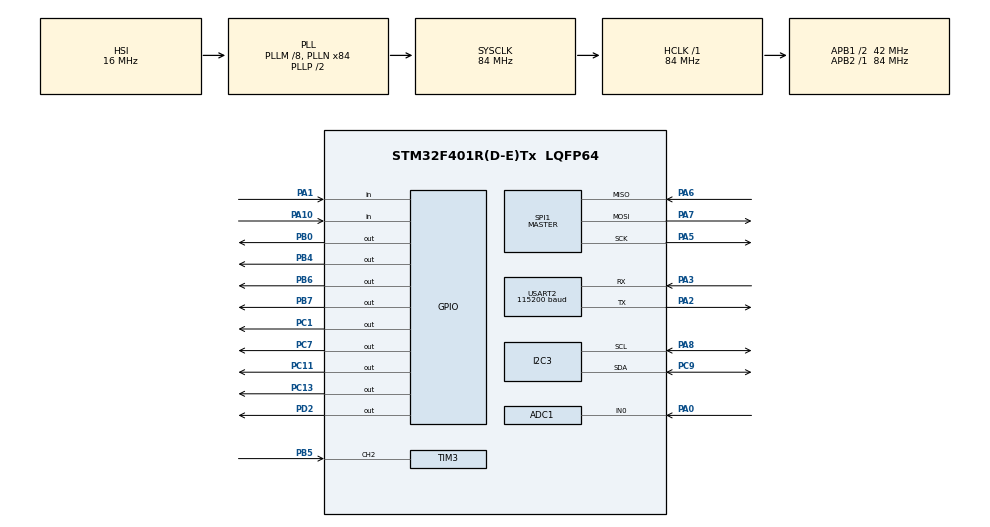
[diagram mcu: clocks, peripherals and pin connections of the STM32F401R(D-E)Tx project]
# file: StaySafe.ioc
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ADC1.Channel-1\#ChannelRegularConversion=ADC_CHANNEL_0
ADC1.NbrOfConversionFlag=1
ADC1.Rank-1\#ChannelRegularConversion=1
ADC1.SamplingTime-1\#ChannelRegularConversion=ADC_SAMPLETIME_3CYCLES
ADC1.master=1
FREERTOS.Queues01=QueueData,8,uint16_t,0,Dynamic,NULL,NULL;QueueLCD,8,uint16_t,0,Dynamic,NULL,NULL;QueueAlert,8,uint8_t,0,Dynamic,NULL,NULL
FREERTOS.Tasks01=alertTask,40,128,alertTaskFunction,Default,NULL,Dynamic,NULL,NULL;LoraTask,32,256,LoraTaskFunction,Default,NULL,Dynamic,NULL,NULL;readingSensor,24,256,readingSensorFunction,Default,NULL,Dynamic,NULL,NULL;LcdTask,16,128,LcdTaskFunction,Default,NULL,Dynamic,NULL,NULL
Mcu.Family=STM32F4
Mcu.Name=STM32F401R(D-E)Tx
Mcu.Package=LQFP64
NVIC.PriorityGroup=NVIC_PRIORITYGROUP_4
NVIC.RTC_WKUP_IRQn=true\:5\:0\:false\:false\:true\:true\:true\:true\:true
NVIC.TIM1_UP_TIM10_IRQn=true\:15\:0\:false\:false\:true\:false\:false\:true\:true
NVIC.TIM3_IRQn=true\:5\:0\:false\:false\:true\:true\:true\:true\:true
NVIC.TimeBase=TIM1_UP_TIM10_IRQn
NVIC.TimeBaseIP=TIM1
PA0-WKUP.Signal=ADCx_IN0
PA1.Signal=GPIO_Input
PA10.Signal=GPIO_Input
PA13.Mode=Trace_Asynchronous_SW
PA13.Signal=SYS_JTMS-SWDIO
PA14.Mode=Trace_Asynchronous_SW
PA14.Signal=SYS_JTCK-SWCLK
PA2.Mode=Asynchronous
PA2.Signal=USART2_TX
PA3.Mode=Asynchronous
PA3.Signal=USART2_RX
PA5.Mode=Full_Duplex_Master
PA5.Signal=SPI1_SCK
PA6.Mode=Full_Duplex_Master
PA6.Signal=SPI1_MISO
PA7.Mode=Full_Duplex_Master
PA7.Signal=SPI1_MOSI
PA8.Mode=I2C
PA8.Signal=I2C3_SCL
PB0.Signal=GPIO_Output
PB3.Mode=Trace_Asynchronous_SW
PB3.Signal=SYS_JTDO-SWO
PB4.Signal=GPIO_Output
PB5.Signal=S_TIM3_CH2
PB6.Signal=GPIO_Output
PB7.Signal=GPIO_Output
PC1.Signal=GPIO_Output
PC11.Signal=GPIO_Output
PC13-ANTI_TAMP.Signal=GPIO_Output
PC7.Signal=GPIO_Output
PC9.Mode=I2C
PC9.Signal=I2C3_SDA
PD2.Signal=GPIO_Output
ProjectManager.HeapSize=0x200
ProjectManager.StackSize=0x400
ProjectManager.TargetToolchain=STM32CubeIDE
RCC.48MHZClocksFreq_Value=42000000
RCC.AHBFreq_Value=84000000
RCC.APB1CLKDivider=RCC_HCLK_DIV2
RCC.APB1Freq_Value=42000000
RCC.APB1TimFreq_Value=84000000
RCC.APB2Freq_Value=84000000
RCC.APB2TimFreq_Value=84000000
RCC.CortexFreq_Value=84000000
RCC.HCLKFreq_Value=84000000
RCC.HSE_VALUE=25000000
RCC.HSI_VALUE=16000000
RCC.LSE_VALUE=32768
RCC.PLLM=8
RCC.PLLN=84
RCC.SYSCLKFreq_VALUE=84000000
RCC.SYSCLKSource=RCC_SYSCLKSOURCE_PLLCLK
RCC.VCOOutputFreq_Value=168000000
RTC.WakeUpCounter=2000
SH.ADCx_IN0.0=ADC1_IN0,IN0
SH.S_TIM3_CH2.0=TIM3_CH2,Input_Capture2_from_TI2
SPI1.Direction=SPI_DIRECTION_2LINES
SPI1.Mode=SPI_MODE_MASTER
SPI1.VirtualType=VM_MASTER
TIM3.Channel-Input_Capture2_from_TI2=TIM_CHANNEL_2
TIM3.Prescaler=83
USART2.BaudRate=115200
USART2.VirtualMode=VM_ASYNC
VP_FREERTOS_VS_CMSIS_V2.Mode=CMSIS_V2
VP_RTC_VS_RTC_Activate.Mode=RTC_Enabled
VP_RTC_VS_RTC_WakeUp_intern.Mode=WakeUp
VP_SYS_VS_tim1.Mode=TIM1
board=custom

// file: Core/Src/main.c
/* USER CODE BEGIN Header */
/**
  ******************************************************************************
  * @file           : main.c
  * @brief          : Main program body
  ******************************************************************************
  * @attention
  *
  * Copyright (c) 2026 STMicroelectronics.
  * All rights reserved.
  *
  * This software is licensed under terms that can be found in the LICENSE file
  * in the root directory of this software component.
  * If no LICENSE file comes with this software, it is provided AS-IS.
  *
  ******************************************************************************
  */
/* USER CODE END Header */
#include "main.h"
#include "cmsis_os.h"

/* USER CODE BEGIN Includes */
#include <stdio.h>
#include "SX1278.h"
#include "FreeRTOS.h"
#include "queue.h"
#include "ultrasonic.h"
#include "i2c_lcd.h"
#include "event_groups.h"
/* USER CODE END Includes */

/* USER CODE BEGIN PD */
#define ALERT_DONE_BIT      (1 << 0)
#define LCD_DONE_BIT        (1 << 1)
#define LORA_DONE_BIT       (1 << 2)
#define ALL_DONE_BITS       (ALERT_DONE_BIT | LCD_DONE_BIT | LORA_DONE_BIT)

#define WORK_DURATION_MS        (30UL * 1000UL)
#define SLEEP_DURATION_MS       (10UL * 1000UL)   // 10 minutes STOP
#define SENSOR_CYCLE_MS         150UL                     // période lecture capteurs
#define TASK_SYNC_TIMEOUT_MS    3000UL
/* USER CODE END PD */

/* USER CODE BEGIN PM */
I2C_LCD_HandleTypeDef lcd1;
/* USER CODE END PM */

ADC_HandleTypeDef hadc1;

I2C_HandleTypeDef hi2c3;

RTC_HandleTypeDef hrtc;

SPI_HandleTypeDef hspi1;

TIM_HandleTypeDef htim3;

UART_HandleTypeDef huart2;

/* Definitions for alertTask */
osThreadId_t alertTaskHandle;
const osThreadAttr_t alertTask_attributes = {
  .name = "alertTask",
  .stack_size = 128 * 4,
  .priority = (osPriority_t) osPriorityHigh,
};
/* Definitions for LoraTask */
osThreadId_t LoraTaskHandle;
const osThreadAttr_t LoraTask_attributes = {
  .name = "LoraTask",
  .stack_size = 256 * 4,
  .priority = (osPriority_t) osPriorityAboveNormal,
};
/* Definitions for readingSensor */
osThreadId_t readingSensorHandle;
const osThreadAttr_t readingSensor_attributes = {
  .name = "readingSensor",
  .stack_size = 256 * 4,
  .priority = (osPriority_t) osPriorityNormal,
};
/* Definitions for LcdTask */
osThreadId_t LcdTaskHandle;
const osThreadAttr_t LcdTask_attributes = {
  .name = "LcdTask",
  .stack_size = 128 * 4,
  .priority = (osPriority_t) osPriorityBelowNormal,
};
/* Definitions for QueueData */
osMessageQueueId_t QueueDataHandle;
const osMessageQueueAttr_t QueueData_attributes = {
  .name = "QueueData"
};
/* Definitions for QueueLCD */
osMessageQueueId_t QueueLCDHandle;
const osMessageQueueAttr_t QueueLCD_attributes = {
  .name = "QueueLCD"
};
/* Definitions for QueueAlert */
osMessageQueueId_t QueueAlertHandle;
const osMessageQueueAttr_t QueueAlert_attributes = {
  .name = "QueueAlert"
};
/* USER CODE BEGIN PV */

volatile uint32_t rtc_wakeup_flag = 1;
volatile uint8_t sleep_permitted =0;
volatile uint8_t just_woke = 0;
/* USER CODE END PV */

void SystemClock_Config(void);
static void MX_GPIO_Init(void);
static void MX_SPI1_Init(void);
static void MX_I2C3_Init(void);
static void MX_ADC1_Init(void);
static void MX_USART2_UART_Init(void);
static void MX_TIM3_Init(void);
static void MX_RTC_Init(void);
void alertTaskFunction(void *argument);
void LoraTaskFunction(void *argument);
void readingSensorFunction(void *argument);
void LcdTaskFunction(void *argument);

/* USER CODE BEGIN 0 */
SX1278_hw_t SX1278_hw;
SX1278_t SX1278;
int master ;
int ret ;
EventGroupHandle_t xTasksDoneGroup;

typedef struct {
	float distancecm;
	uint16_t rainIn;
		uint8_t rainexistence;
		uint8_t rainCategory;
		uint8_t alertLevel;
	}SensorData;
uint8_t alert=1;
volatile uint32_t IC_Value1 = 0;
volatile uint32_t IC_Value2 = 0;
volatile uint8_t  edgeState = 0;
volatile uint32_t pulseWidth_us = 0;

	void delay_us(uint32_t us)
{
    uint32_t i;
    for(i = 0; i < (us * 8); i++)
    {
        __NOP();
    }
}
/* USER CODE END 0 */

int main(void)
{

  /* USER CODE BEGIN 1 */
	  __HAL_RCC_GPIOB_CLK_ENABLE();
	    GPIOB->MODER |= (1 << (4*2));   // PB4 output
	    GPIOB->ODR   &= ~(1 << 4);
  /* USER CODE END 1 */

  /* MCU Configuration--------------------------------------------------------*/

  /* Reset of all peripherals, Initializes the Flash interface and the Systick. */
  HAL_Init();

  /* Configure the system clock */
  SystemClock_Config();

  /* Initialize all configured peripherals */
  MX_GPIO_Init();
  HAL_Delay(100);
  MX_SPI1_Init();
  MX_I2C3_Init();
  MX_ADC1_Init();
  MX_USART2_UART_Init();
  MX_TIM3_Init();
  MX_RTC_Init();
  /* USER CODE BEGIN 2 */
  lcd1.hi2c = &hi2c3;     // hi2c1 is your I2C handler
      lcd1.address = 0x4E;    // I2C address for the first LCD
      lcd_init(&lcd1);
  	HAL_Delay(200);

  SX1278_hw.nss.port= GPIOB;
  SX1278_hw.nss.pin= GPIO_PIN_6;
  SX1278_hw.reset.port= GPIOC;
  SX1278_hw.reset.pin= GPIO_PIN_7;
  SX1278_hw.dio0.port= GPIOA;
  SX1278_hw.dio0.pin= GPIO_PIN_10;
  SX1278_hw.spi= &hspi1;
  SX1278.hw = &SX1278_hw;
  SX1278_hw_Reset(&SX1278_hw);
  HAL_Delay(500);
  SX1278_init(&SX1278, 433000000, SX1278_POWER_11DBM,
              SX1278_LORA_SF_7, SX1278_LORA_BW_125KHZ,
              SX1278_LORA_CR_4_5, SX1278_LORA_CRC_EN, 16);

  HAL_Delay(1000);

  uint8_t version = SX1278_SPIRead(&SX1278, 0x42);
    if (version != 0x12)
  {   HAL_UART_Transmit(&huart2, (uint8_t*)"LORA FAIL-RETRY\n", 16, 100);
      SX1278_hw_Reset(&SX1278_hw);
           HAL_Delay(500);
      SX1278_init(&SX1278, 433000000, SX1278_POWER_11DBM, SX1278_LORA_SF_7, SX1278_LORA_BW_125KHZ, SX1278_LORA_CR_4_5, SX1278_LORA_CRC_EN, 16);
      HAL_Delay(500);
        version = SX1278_SPIRead(&SX1278, 0x42);
      if (version != 0x12)//0x12
      {

    HAL_UART_Transmit(&huart2, (uint8_t*)"LORA DEAD-RESET\n", 16, 100);
          HAL_Delay(100);
      NVIC_SystemReset();
      }
  }
	HAL_GPIO_WritePin(GPIOB, GPIO_PIN_0, GPIO_PIN_SET);
 		 HAL_Delay(1000);
 	 HAL_GPIO_WritePin(GPIOB, GPIO_PIN_0, GPIO_PIN_RESET);
  HAL_Delay(1000);
  /* USER CODE END 2 */

  /* Init scheduler */
  osKernelInitialize();

  /* USER CODE BEGIN RTOS_TIMERS */
	xTasksDoneGroup = xEventGroupCreate();

  /* start timers, add new ones, ... */
  /* USER CODE END RTOS_TIMERS */

  /* Create the queue(s) */
  /* creation of QueueData */
  QueueDataHandle = osMessageQueueNew (8, sizeof(SensorData), &QueueData_attributes);

  /* creation of QueueLCD */
  QueueLCDHandle = osMessageQueueNew (8, sizeof(SensorData), &QueueLCD_attributes);

  /* creation of QueueAlert */
  QueueAlertHandle = osMessageQueueNew (8, sizeof(uint8_t), &QueueAlert_attributes);

  /* Create the thread(s) */
  /* creation of alertTask */
  alertTaskHandle = osThreadNew(alertTaskFunction, NULL, &alertTask_attributes);

  /* creation of LoraTask */
  LoraTaskHandle = osThreadNew(LoraTaskFunction, NULL, &LoraTask_attributes);

  /* creation of readingSensor */
  readingSensorHandle = osThreadNew(readingSensorFunction, NULL, &readingSensor_attributes);

  /* creation of LcdTask */
  LcdTaskHandle = osThreadNew(LcdTaskFunction, NULL, &LcdTask_attributes);

  /* Start scheduler */
  osKernelStart();

  /* We should never get here as control is now taken by the scheduler */

  /* Infinite loop */
  while (1)
  {

  }
}

void SystemClock_Config(void)
{
  RCC_OscInitTypeDef RCC_OscInitStruct = {0};
  RCC_ClkInitTypeDef RCC_ClkInitStruct = {0};

  /** Configure the main internal regulator output voltage
  */
  __HAL_RCC_PWR_CLK_ENABLE();
  __HAL_PWR_VOLTAGESCALING_CONFIG(PWR_REGULATOR_VOLTAGE_SCALE2);

  /** Initializes the RCC Oscillators according to the specified parameters
  * in the RCC_OscInitTypeDef structure.
  */
  RCC_OscInitStruct.OscillatorType = RCC_OSCILLATORTYPE_HSI|RCC_OSCILLATORTYPE_LSI;
  RCC_OscInitStruct.HSIState = RCC_HSI_ON;
  RCC_OscInitStruct.HSICalibrationValue = RCC_HSICALIBRATION_DEFAULT;
  RCC_OscInitStruct.LSIState = RCC_LSI_ON;
  RCC_OscInitStruct.PLL.PLLState = RCC_PLL_ON;
  RCC_OscInitStruct.PLL.PLLSource = RCC_PLLSOURCE_HSI;
  RCC_OscInitStruct.PLL.PLLM = 8;
  RCC_OscInitStruct.PLL.PLLN = 84;
  RCC_OscInitStruct.PLL.PLLP = RCC_PLLP_DIV2;
  RCC_OscInitStruct.PLL.PLLQ = 4;
  if (HAL_RCC_OscConfig(&RCC_OscInitStruct) != HAL_OK)
  {
    Error_Handler();
  }

  /** Initializes the CPU, AHB and APB buses clocks
  */
  RCC_ClkInitStruct.ClockType = RCC_CLOCKTYPE_HCLK|RCC_CLOCKTYPE_SYSCLK
                              |RCC_CLOCKTYPE_PCLK1|RCC_CLOCKTYPE_PCLK2;
  RCC_ClkInitStruct.SYSCLKSource = RCC_SYSCLKSOURCE_PLLCLK;
  RCC_ClkInitStruct.AHBCLKDivider = RCC_SYSCLK_DIV1;
  RCC_ClkInitStruct.APB1CLKDivider = RCC_HCLK_DIV2;
  RCC_ClkInitStruct.APB2CLKDivider = RCC_HCLK_DIV1;

  if (HAL_RCC_ClockConfig(&RCC_ClkInitStruct, FLASH_LATENCY_2) != HAL_OK)
  {
    Error_Handler();
  }
}

static void MX_ADC1_Init(void)
{

  ADC_ChannelConfTypeDef sConfig = {0};

  /** Configure the global features of the ADC (Clock, Resolution, Data Alignment and number of conversion)
  */
  hadc1.Instance = ADC1;
  hadc1.Init.ClockPrescaler = ADC_CLOCK_SYNC_PCLK_DIV4;
  hadc1.Init.Resolution = ADC_RESOLUTION_12B;
  hadc1.Init.ScanConvMode = DISABLE;
  hadc1.Init.ContinuousConvMode = DISABLE;
  hadc1.Init.DiscontinuousConvMode = DISABLE;
  hadc1.Init.ExternalTrigConvEdge = ADC_EXTERNALTRIGCONVEDGE_NONE;
  hadc1.Init.ExternalTrigConv = ADC_SOFTWARE_START;
  hadc1.Init.DataAlign = ADC_DATAALIGN_RIGHT;
  hadc1.Init.NbrOfConversion = 1;
  hadc1.Init.DMAContinuousRequests = DISABLE;
  hadc1.Init.EOCSelection = ADC_EOC_SINGLE_CONV;
  if (HAL_ADC_Init(&hadc1) != HAL_OK)
  {
    Error_Handler();
  }

  /** Configure for the selected ADC regular channel its corresponding rank in the sequencer and its sample time.
  */
  sConfig.Channel = ADC_CHANNEL_0;
  sConfig.Rank = 1;
  sConfig.SamplingTime = ADC_SAMPLETIME_3CYCLES;
  if (HAL_ADC_ConfigChannel(&hadc1, &sConfig) != HAL_OK)
  {
    Error_Handler();
  }

}

static void MX_I2C3_Init(void)
{

  hi2c3.Instance = I2C3;
  hi2c3.Init.ClockSpeed = 100000;
  hi2c3.Init.DutyCycle = I2C_DUTYCYCLE_2;
  hi2c3.Init.OwnAddress1 = 0;
  hi2c3.Init.AddressingMode = I2C_ADDRESSINGMODE_7BIT;
  hi2c3.Init.DualAddressMode = I2C_DUALADDRESS_DISABLE;
  hi2c3.Init.OwnAddress2 = 0;
  hi2c3.Init.GeneralCallMode = I2C_GENERALCALL_DISABLE;
  hi2c3.Init.NoStretchMode = I2C_NOSTRETCH_DISABLE;
  if (HAL_I2C_Init(&hi2c3) != HAL_OK)
  {
    Error_Handler();
  }

}

static void MX_RTC_Init(void)
{

  /* USER CODE BEGIN RTC_Init 0 */
	__HAL_RCC_BACKUPRESET_FORCE();
	    HAL_Delay(10);
	    __HAL_RCC_BACKUPRESET_RELEASE();
	    HAL_Delay(10);
  /* USER CODE END RTC_Init 0 */

  RTC_TimeTypeDef sTime = {0};
  RTC_DateTypeDef sDate = {0};

  /* USER CODE BEGIN RTC_Init 1 */
  RCC_PeriphCLKInitTypeDef PeriphClkInitStruct = {0};
     PeriphClkInitStruct.PeriphClockSelection = RCC_PERIPHCLK_RTC;
     PeriphClkInitStruct.RTCClockSelection = RCC_RTCCLKSOURCE_LSI;
     if (HAL_RCCEx_PeriphCLKConfig(&PeriphClkInitStruct) != HAL_OK)
     {
         Error_Handler();
     }
     __HAL_RCC_RTC_ENABLE();
  /* USER CODE END RTC_Init 1 */

  /** Initialize RTC Only
  */
  hrtc.Instance = RTC;
  hrtc.Init.HourFormat = RTC_HOURFORMAT_24;
  hrtc.Init.AsynchPrediv = 127;
  hrtc.Init.SynchPrediv = 255;
  hrtc.Init.OutPut = RTC_OUTPUT_DISABLE;
  hrtc.Init.OutPutPolarity = RTC_OUTPUT_POLARITY_HIGH;
  hrtc.Init.OutPutType = RTC_OUTPUT_TYPE_OPENDRAIN;
  if (HAL_RTC_Init(&hrtc) != HAL_OK)
  {
    Error_Handler();
  }

  /* USER CODE BEGIN Check_RTC_BKUP */
  if (HAL_RTCEx_BKUPRead(&hrtc, RTC_BKP_DR0) != 0x32F2) {
      // Only set time/date on first boot
      if (HAL_RTC_SetTime(&hrtc, &sTime, RTC_FORMAT_BCD) != HAL_OK) { Error_Handler(); }
      if (HAL_RTC_SetDate(&hrtc, &sDate, RTC_FORMAT_BCD) != HAL_OK) { Error_Handler(); }
      HAL_RTCEx_BKUPWrite(&hrtc, RTC_BKP_DR0, 0x32F2);}
  /* USER CODE END Check_RTC_BKUP */

  /** Initialize RTC and set the Time and Date
  */
  sTime.Hours = 0x0;
  sTime.Minutes = 0x0;
  sTime.Seconds = 0x0;
  sTime.DayLightSaving = RTC_DAYLIGHTSAVING_NONE;
  sTime.StoreOperation = RTC_STOREOPERATION_RESET;
  if (HAL_RTC_SetTime(&hrtc, &sTime, RTC_FORMAT_BCD) != HAL_OK)
  {
    Error_Handler();
  }
  sDate.WeekDay = RTC_WEEKDAY_MONDAY;
  sDate.Month = RTC_MONTH_JANUARY;
  sDate.Date = 0x1;
  sDate.Year = 0x0;

  if (HAL_RTC_SetDate(&hrtc, &sDate, RTC_FORMAT_BCD) != HAL_OK)
  {
    Error_Handler();
  }

  /** Enable the WakeUp
  */
  if (HAL_RTCEx_SetWakeUpTimer_IT(&hrtc, 2000, RTC_WAKEUPCLOCK_RTCCLK_DIV16) != HAL_OK)
  {
    Error_Handler();
  }
  /* USER CODE BEGIN RTC_Init 2 */
  HAL_NVIC_SetPriority(RTC_WKUP_IRQn, 5, 0);
  HAL_NVIC_EnableIRQ(RTC_WKUP_IRQn);

  __HAL_RTC_WAKEUPTIMER_EXTI_ENABLE_IT();
  __HAL_RTC_WAKEUPTIMER_EXTI_ENABLE_RISING_EDGE();
  /* USER CODE END RTC_Init 2 */

}

static void MX_SPI1_Init(void)
{

  /* SPI1 parameter configuration*/
  hspi1.Instance = SPI1;
  hspi1.Init.Mode = SPI_MODE_MASTER;
  hspi1.Init.Direction = SPI_DIRECTION_2LINES;
  hspi1.Init.DataSize = SPI_DATASIZE_8BIT;
  hspi1.Init.CLKPolarity = SPI_POLARITY_LOW;
  hspi1.Init.CLKPhase = SPI_PHASE_1EDGE;
  hspi1.Init.NSS = SPI_NSS_SOFT;
  hspi1.Init.BaudRatePrescaler = SPI_BAUDRATEPRESCALER_16;
  hspi1.Init.FirstBit = SPI_FIRSTBIT_MSB;
  hspi1.Init.TIMode = SPI_TIMODE_DISABLE;
  hspi1.Init.CRCCalculation = SPI_CRCCALCULATION_DISABLE;
  hspi1.Init.CRCPolynomial = 10;
  if (HAL_SPI_Init(&hspi1) != HAL_OK)
  {
    Error_Handler();
  }

}

static void MX_TIM3_Init(void)
{

  TIM_MasterConfigTypeDef sMasterConfig = {0};
  TIM_IC_InitTypeDef sConfigIC = {0};

  htim3.Instance = TIM3;
  htim3.Init.Prescaler = 83;
  htim3.Init.CounterMode = TIM_COUNTERMODE_UP;
  htim3.Init.Period = 65535;
  htim3.Init.ClockDivision = TIM_CLOCKDIVISION_DIV1;
  htim3.Init.AutoReloadPreload = TIM_AUTORELOAD_PRELOAD_DISABLE;
  if (HAL_TIM_IC_Init(&htim3) != HAL_OK)
  {
    Error_Handler();
  }
  sMasterConfig.MasterOutputTrigger = TIM_TRGO_RESET;
  sMasterConfig.MasterSlaveMode = TIM_MASTERSLAVEMODE_DISABLE;
  if (HAL_TIMEx_MasterConfigSynchronization(&htim3, &sMasterConfig) != HAL_OK)
  {
    Error_Handler();
  }
  sConfigIC.ICPolarity = TIM_INPUTCHANNELPOLARITY_RISING;
  sConfigIC.ICSelection = TIM_ICSELECTION_DIRECTTI;
  sConfigIC.ICPrescaler = TIM_ICPSC_DIV1;
  sConfigIC.ICFilter = 0;
  if (HAL_TIM_IC_ConfigChannel(&htim3, &sConfigIC, TIM_CHANNEL_2) != HAL_OK)
  {
    Error_Handler();
  }
  /* USER CODE BEGIN TIM3_Init 2 */
  HAL_NVIC_SetPriority(TIM3_IRQn, 5, 0);
  HAL_NVIC_EnableIRQ(TIM3_IRQn);
  /* USER CODE END TIM3_Init 2 */

}

static void MX_USART2_UART_Init(void)
{

  huart2.Instance = USART2;
  huart2.Init.BaudRate = 115200;
  huart2.Init.WordLength = UART_WORDLENGTH_8B;
  huart2.Init.StopBits = UART_STOPBITS_1;
  huart2.Init.Parity = UART_PARITY_NONE;
  huart2.Init.Mode = UART_MODE_TX_RX;
  huart2.Init.HwFlowCtl = UART_HWCONTROL_NONE;
  huart2.Init.OverSampling = UART_OVERSAMPLING_16;
  if (HAL_UART_Init(&huart2) != HAL_OK)
  {
    Error_Handler();
  }

}

static void MX_GPIO_Init(void)
{
  GPIO_InitTypeDef GPIO_InitStruct = {0};

  /* GPIO Ports Clock Enable */
  __HAL_RCC_GPIOC_CLK_ENABLE();
  __HAL_RCC_GPIOA_CLK_ENABLE();
  __HAL_RCC_GPIOB_CLK_ENABLE();
  __HAL_RCC_GPIOD_CLK_ENABLE();

  /*Configure GPIO pin Output Level */
  HAL_GPIO_WritePin(GPIOC, GPIO_PIN_13|GPIO_PIN_1|GPIO_PIN_7|GPIO_PIN_11, GPIO_PIN_RESET);

  /*Configure GPIO pin Output Level */
  HAL_GPIO_WritePin(GPIOB, GPIO_PIN_0|GPIO_PIN_4|GPIO_PIN_6|GPIO_PIN_7, GPIO_PIN_RESET);

  /*Configure GPIO pin Output Level */
  HAL_GPIO_WritePin(GPIOD, GPIO_PIN_2, GPIO_PIN_RESET);

  /*Configure GPIO pins : PC13 PC1 PC7 PC11 */
  GPIO_InitStruct.Pin = GPIO_PIN_13|GPIO_PIN_1|GPIO_PIN_7|GPIO_PIN_11;
  GPIO_InitStruct.Mode = GPIO_MODE_OUTPUT_PP;
  GPIO_InitStruct.Pull = GPIO_NOPULL;
  GPIO_InitStruct.Speed = GPIO_SPEED_FREQ_LOW;
  HAL_GPIO_Init(GPIOC, &GPIO_InitStruct);

  /*Configure GPIO pins : PA1 PA10 */
  GPIO_InitStruct.Pin = GPIO_PIN_1|GPIO_PIN_10;
  GPIO_InitStruct.Mode = GPIO_MODE_INPUT;
  GPIO_InitStruct.Pull = GPIO_NOPULL;
  HAL_GPIO_Init(GPIOA, &GPIO_InitStruct);

  /*Configure GPIO pins : PB0 PB4 PB6 PB7 */
  GPIO_InitStruct.Pin = GPIO_PIN_0|GPIO_PIN_4|GPIO_PIN_6|GPIO_PIN_7;
  GPIO_InitStruct.Mode = GPIO_MODE_OUTPUT_PP;
  GPIO_InitStruct.Pull = GPIO_NOPULL;
  GPIO_InitStruct.Speed = GPIO_SPEED_FREQ_LOW;
  HAL_GPIO_Init(GPIOB, &GPIO_InitStruct);

  /*Configure GPIO pin : PD2 */
  GPIO_InitStruct.Pin = GPIO_PIN_2;
  GPIO_InitStruct.Mode = GPIO_MODE_OUTPUT_PP;
  GPIO_InitStruct.Pull = GPIO_NOPULL;
  GPIO_InitStruct.Speed = GPIO_SPEED_FREQ_LOW;
  HAL_GPIO_Init(GPIOD, &GPIO_InitStruct);

/* USER CODE BEGIN MX_GPIO_Init_2 */
  /* TIM3 CH2 — Echo input on PB5 */
  GPIO_InitStruct.Pin = GPIO_PIN_5;
  GPIO_InitStruct.Mode = GPIO_MODE_AF_PP;
  GPIO_InitStruct.Pull = GPIO_NOPULL;
  GPIO_InitStruct.Speed = GPIO_SPEED_FREQ_LOW;
  GPIO_InitStruct.Alternate = GPIO_AF2_TIM3;
  HAL_GPIO_Init(GPIOB, &GPIO_InitStruct);
/* USER CODE END MX_GPIO_Init_2 */
}

/* USER CODE BEGIN 4 */
int _write(int file, char *ptr, int len) {
    HAL_UART_Transmit(&huart2, (uint8_t*)ptr, len, 50);
    return len;
}
void Ultrasonic_Trigger(void)
{
    HAL_GPIO_WritePin(GPIOB, GPIO_PIN_4, GPIO_PIN_SET);
    delay_us(10);
    HAL_GPIO_WritePin(GPIOB, GPIO_PIN_4, GPIO_PIN_RESET);
}
void vApplicationIdleHook(void)
{
		if (sleep_permitted) {
        sleep_permitted = 0;
    HAL_SuspendTick();
   HAL_PWR_EnterSTOPMode(PWR_LOWPOWERREGULATOR_ON, PWR_STOPENTRY_WFI);

    SystemClock_Config();
    HAL_ResumeTick();
			just_woke = 1;
		}
}
void SetRtcWakeup_ms( uint32_t mills){
if (mills <= 32767) {
        // Short durations: DIV16 gives 0.5ms per tick
        uint32_t ticks = mills * 2;
        if (ticks == 0) ticks = 1;
        HAL_RTCEx_SetWakeUpTimer_IT(&hrtc, ticks, RTC_WAKEUPCLOCK_RTCCLK_DIV16);
    } else {
        // Long durations: 1Hz clock, 1 tick = 1 second
        uint32_t seconds = mills / 1000;
        if (seconds == 0) seconds = 1;
        if (seconds > 65535) seconds = 65535;
        HAL_RTCEx_SetWakeUpTimer_IT(&hrtc, seconds, RTC_WAKEUPCLOCK_CK_SPRE_16BITS);
    }
}

void HAL_RTCEx_WakeUpTimerEventCallback(RTC_HandleTypeDef *hrtc)
{
    rtc_wakeup_flag = 1;
    __HAL_RTC_WAKEUPTIMER_EXTI_CLEAR_FLAG();
}
/* USER CODE END 4 */

void alertTaskFunction(void *argument)
{
  /* USER CODE BEGIN 5 */
	uint32_t lastAlertLevel = 0;

  /* Infinite loop */
  for(;;)
  {

	  uint32_t alertLevel = ulTaskNotifyTake(pdFALSE, pdMS_TO_TICKS(500));
	  printf("Alert task received notification: %lu\r\n", alertLevel);

	  		 //pdfalse to clear the value , its like saying give me the value tha
	  				//was sent but if it was pdtrue it will be sayin how many times the notifi was send
	  if (alertLevel == lastAlertLevel) {
	            // Same level as before, just set the event bit and continue
	            xEventGroupSetBits(xTasksDoneGroup, ALERT_DONE_BIT);
	            continue;
	        }

	        lastAlertLevel = alertLevel;

	        // Always turn everything off first, then turn on what's needed
	        HAL_GPIO_WritePin(GPIOB, GPIO_PIN_7, GPIO_PIN_RESET);   // red OFF
	        HAL_GPIO_WritePin(GPIOD, GPIO_PIN_2, GPIO_PIN_RESET);   // yellow OFF
	        HAL_GPIO_WritePin(GPIOC, GPIO_PIN_11, GPIO_PIN_RESET);
	        if (alertLevel == 2) {
	                    HAL_GPIO_WritePin(GPIOB, GPIO_PIN_7, GPIO_PIN_SET);   // red ON
	                    HAL_GPIO_WritePin(GPIOC, GPIO_PIN_11, GPIO_PIN_SET);  // buzzer ON
	                    printf("CRITICAL: red+buzzer ON\r\n");
	                    vTaskDelay(100);
	                }
	                else if (alertLevel == 1) {
	                    HAL_GPIO_WritePin(GPIOD, GPIO_PIN_2, GPIO_PIN_SET);   // yellow ON
	                    printf("WARNING: yellow ON\r\n");
	                    vTaskDelay(100);
	                }
	                else {
	                    printf("OK: all OFF\r\n");
	                }

	    xEventGroupSetBits(xTasksDoneGroup, ALERT_DONE_BIT);
  }
  /* USER CODE END 5 */
}

void LoraTaskFunction(void *argument)
{
  /* USER CODE BEGIN LoraTaskFunction */
	SensorData receivemessage;

		int message_lenght;
		int message_al;
		BaseType_t message;
		BaseType_t message_alert;
		 char txBuffer[64];
		char txalertBuffer[8];
  /* Infinite loop */
  for(;;)
  {

	  	  message = xQueueReceive(QueueDataHandle,&receivemessage, pdMS_TO_TICKS(500));

	  		if(message == pdPASS){
	  			uint32_t d_int = (uint32_t)receivemessage.distancecm;
	  			uint32_t d_dec = (uint32_t)(receivemessage.distancecm * 10) % 10;
	  			uint32_t rain_int = (uint32_t)receivemessage.rainIn;
	  			message_lenght = snprintf(txBuffer, sizeof(txBuffer),
	  			    "D:%lu.%lu R:%lu W:%d A:%d RF:%d",
	  			    d_int, d_dec, rain_int,
	  			    receivemessage.rainexistence,
	  			    receivemessage.alertLevel,
	  			    receivemessage.rainCategory); // rainCategory = 0=NONE, 1=LIGHT, 2=HEAVY

	  			  uint8_t lora_retries = 0;
            uint8_t sent         = 0;

            while (lora_retries < 3 && !sent)
            {
                if (lora_retries == 2)
                {

                    HAL_UART_Transmit(&huart2, (uint8_t*)"LORA REINIT\n", 12, 50);
                    	SX1278_hw_Reset(&SX1278_hw);
                    vTaskDelay(pdMS_TO_TICKS(100));
                    	SX1278_init(&SX1278, 433000000, SX1278_POWER_11DBM, SX1278_LORA_SF_7, SX1278_LORA_BW_125KHZ, SX1278_LORA_CR_4_5, SX1278_LORA_CRC_EN, 16);
                    vTaskDelay(pdMS_TO_TICKS(200));
                }

                ret = SX1278_LoRaEntryTx(&SX1278, message_lenght, 2000);
                if (ret == 1) {
                    ret = SX1278_LoRaTxPacket(&SX1278, (uint8_t*)txBuffer, message_lenght, 2000);
                    if (ret == 1) { sent = 1; break; }
                }

                lora_retries++;
                vTaskDelay(pdMS_TO_TICKS(500));
            }

            HAL_GPIO_WritePin(GPIOB, GPIO_PIN_0, sent ? GPIO_PIN_SET  : GPIO_PIN_RESET);
            HAL_GPIO_WritePin(GPIOC, GPIO_PIN_1, sent ? GPIO_PIN_RESET : GPIO_PIN_SET);

            if (!sent) {
                HAL_UART_Transmit(&huart2, (uint8_t*)"LORA TX FAILED\n", 15, 100);
            }
        }

    }
	  	xEventGroupSetBits(xTasksDoneGroup, LORA_DONE_BIT);
  }
  /* USER CODE END LoraTaskFunction */
}

void readingSensorFunction(void *argument)
{
  /* USER CODE BEGIN readingSensorFunction */

	float samples[5];
	uint8_t valid_count = 0;

	const uint32_t CYCLES_PER_WORK_PHASE = (WORK_DURATION_MS / SENSOR_CYCLE_MS);
	uint32_t cycleCount = 0;

		SensorData data ;
  /* Infinite loop */
  for(;;)
  {
	   xEventGroupClearBits(xTasksDoneGroup, ALL_DONE_BITS);
	   valid_count = 0;
	          for (int i = 0; i < 5; i++)
	          {
	              /* Guarantee echo pin is low before triggering */
	              edgeState    = 0;
	              pulseWidth_us = 0;
	              IC_Value1    = 0;
	              IC_Value2    = 0;

	              vTaskDelay(pdMS_TO_TICKS(10));   /* >8ms guard between pings */

	              Ultrasonic_Trigger();
	              __HAL_TIM_SET_CAPTUREPOLARITY(&htim3, TIM_CHANNEL_2,
	                                             TIM_INPUTCHANNELPOLARITY_RISING);
	              HAL_TIM_IC_Start_IT(&htim3, TIM_CHANNEL_2);

	              /* Wait up to 35ms for full echo (max range ~600cm) */
	              uint32_t t0 = HAL_GetTick();
	              while (edgeState != 2 && (HAL_GetTick() - t0) < 35)
	                  vTaskDelay(pdMS_TO_TICKS(1));

	              HAL_TIM_IC_Stop_IT(&htim3, TIM_CHANNEL_2);

	              /* Accept only plausible pulses: 150µs–23200µs (≈2.5cm–400cm) */
	              if (edgeState == 2 && pulseWidth_us > 150 && pulseWidth_us < 23200)
	                  samples[valid_count++] = pulseWidth_us / 58.0f;
	          }

	          /* Insertion sort on valid samples */
	          for (int i = 1; i < valid_count; i++) {
	              float key = samples[i];
	              int j = i - 1;
	              while (j >= 0 && samples[j] > key) { samples[j+1] = samples[j]; j--; }
	              samples[j+1] = key;
	          }

	          if (valid_count >= 3) {
            float sum = 0;
            for (int i = 1; i < valid_count - 1; i++) sum += samples[i];
            data.distancecm = sum / (valid_count - 2);
        } else if (valid_count > 0) {
            float sum = 0;
            for (int i = 0; i < valid_count; i++) sum += samples[i];
            data.distancecm = sum / valid_count;
        } else {
            /* No valid reading: sentinel, skip alert */
            data.distancecm = 999.0f;
            HAL_UART_Transmit(&huart2, (uint8_t*)"SENSOR FAIL\n", 12, 50);
        }

	  		 HAL_ADC_Start(&hadc1);
	  	HAL_ADC_PollForConversion(&hadc1,HAL_MAX_DELAY);
	  	data.rainIn = HAL_ADC_GetValue(&hadc1);
	  	data.rainexistence = !HAL_GPIO_ReadPin(GPIOA, GPIO_PIN_1);

			// In readingSensorFunction, after reading sensors, do this:

			uint8_t alertLevel = 0;

			// Check conditions and set alertLevel
			if (data.distancecm <= 50 ) {
			    alertLevel = 2;  // CRITICAL
				//xQueueSend(QueueAlertHandle, &alertLevel, pdMS_TO_TICKS(10));
				 uint32_t d = (uint32_t)data.distancecm;
				    uint32_t dd = (uint32_t)(data.distancecm * 10) % 10;
				    printf("CRITICAL! D:%lu.%lucm Rain:%d ADC:%d\r\n",
				           d, dd, data.rainexistence, data.rainIn);			}
			else if ((data.distancecm <= 70) && (data.rainexistence == 1) && (data.rainIn < 2000)) {
			    alertLevel = 1;  // WARNING
			    //xQueueSend(QueueAlertHandle, &alertLevel, pdMS_TO_TICKS(10));
			    uint32_t d = (uint32_t)data.distancecm;
			       uint32_t dd = (uint32_t)(data.distancecm * 10) % 10;
			       printf("WARNING! D:%lu.%lucm Rain:%d ADC:%d\r\n",
			              d, dd, data.rainexistence, data.rainIn);
			}
			else {
				alertLevel = 0;  // NO ALERT
				//xQueueSend(QueueAlertHandle, &alertLevel, pdMS_TO_TICKS(10));

			}

			if (!data.rainexistence)        data.rainCategory = 0;  // NONE
			else if (data.rainIn < 500)     data.rainCategory = 2;  // HEAVY
			else if (data.rainIn < 2000)    data.rainCategory = 1;  // LIGHT
			else                            data.rainCategory = 0;  // NONE
			// Send notification with the actual alertLevel value
			xTaskNotify(alertTaskHandle, alertLevel, eSetValueWithOverwrite);

			data.alertLevel = alertLevel;

	  	xQueueSend(QueueDataHandle, &data, pdMS_TO_TICKS(10));
	  	xQueueSend(QueueLCDHandle, &data, pdMS_TO_TICKS(10));

	  				 xEventGroupWaitBits(
	              xTasksDoneGroup,
	              ALL_DONE_BITS,
	              pdTRUE,                  // clear on exit
	              pdTRUE,                  // wait for ALL
	              pdMS_TO_TICKS(3000)      // 2s safety timeout
	          );

	  			cycleCount++;

	  if (cycleCount % 10 == 0) {
	      char dbg[40];
	      int len = snprintf(dbg, sizeof(dbg), "cycle:%lu/%lu\n",
	                         cycleCount, CYCLES_PER_WORK_PHASE);
	      HAL_UART_Transmit(&huart2, (uint8_t*)dbg, len, 50);
	  }

	  if (cycleCount >= CYCLES_PER_WORK_PHASE) {
	   EventBits_t finalBits = xEventGroupWaitBits(
	          xTasksDoneGroup,
	          ALL_DONE_BITS,
	          pdTRUE,
	          pdTRUE,
	          pdMS_TO_TICKS(5000)
	      );

	    if ((finalBits & ALL_DONE_BITS) != ALL_DONE_BITS) {
	          char warn[40];
	          int wlen = snprintf(warn, sizeof(warn), "WARN bits=0x%02lX forcing sleep\n",
	                              (unsigned long)finalBits);
	          HAL_UART_Transmit(&huart2, (uint8_t*)warn, wlen, 100);
	      }

	      HAL_UART_Transmit(&huart2, (uint8_t*)"ENTERING SLEEP\n", 15, 100);
	      while (__HAL_UART_GET_FLAG(&huart2, UART_FLAG_TC) == RESET) {}

	      HAL_RTCEx_DeactivateWakeUpTimer(&hrtc);
	      HAL_Delay(2);
	      SetRtcWakeup_ms(SLEEP_DURATION_MS);
	      __HAL_RTC_WAKEUPTIMER_EXTI_ENABLE_IT();
	      __HAL_RTC_WAKEUPTIMER_EXTI_ENABLE_RISING_EDGE();

	      HAL_SuspendTick();
	      HAL_PWR_EnterSTOPMode(PWR_LOWPOWERREGULATOR_ON, PWR_STOPENTRY_WFI);

	      // Réveil ici
	      SystemClock_Config();
	      HAL_ResumeTick();
	      HAL_RTCEx_DeactivateWakeUpTimer(&hrtc);
	      MX_SPI1_Init();
	      MX_I2C3_Init();
	  		MX_TIM3_Init();
	      vTaskDelay(pdMS_TO_TICKS(10));
	      SX1278_init(&SX1278, 433000000, SX1278_POWER_11DBM,
	                  SX1278_LORA_SF_7, SX1278_LORA_BW_125KHZ,
	                  SX1278_LORA_CR_4_5, SX1278_LORA_CRC_EN, 16);

	      HAL_UART_Transmit(&huart2, (uint8_t*)"WAKE FROM SLEEP\n", 16, 100);
	      cycleCount = 0;

	  }else {

	  					 vTaskDelay(pdMS_TO_TICKS(SENSOR_CYCLE_MS));
	          }

  }
  /* USER CODE END readingSensorFunction */
}

void LcdTaskFunction(void *argument)
{
  /* USER CODE BEGIN LcdTaskFunction */
	SensorData receivemessage;
	BaseType_t message;
	char line1[32];
	char line2[32];
  /* Infinite loop */
  for(;;)
  {
	  message = xQueueReceive(QueueLCDHandle,&receivemessage, portMAX_DELAY);

	  		if( message == pdPASS){
	  			float voltage = receivemessage.rainIn * 3.3f / 4095.0f;
	  			// REPLACE WITH:
	  			uint32_t volt_raw = (uint32_t)(receivemessage.rainIn * 330 / 4095); // in 0.01V units
	  			uint32_t v_int = volt_raw / 100;
	  			uint32_t v_dec = volt_raw % 100;

	  			uint32_t d_int = (uint32_t)receivemessage.distancecm;
	  			uint32_t d_dec = (uint32_t)(receivemessage.distancecm * 10) % 10;

	  			snprintf(line1, sizeof(line1), "level:%lu.%lucm  ", d_int, d_dec);
	  			snprintf(line2, sizeof(line2), "rain:%lu.%02luV %s", v_int, v_dec,
	  			         receivemessage.rainexistence ? "YES" : "NO ");lcd_gotoxy(&lcd1, 0, 0);
	  		lcd_puts(&lcd1, line1);
	      lcd_gotoxy(&lcd1, 0, 1);
	      lcd_puts(&lcd1, line2);

	  		}
	      xEventGroupSetBits(xTasksDoneGroup, LCD_DONE_BIT);
  }
  /* USER CODE END LcdTaskFunction */
}

void HAL_TIM_PeriodElapsedCallback(TIM_HandleTypeDef *htim)
{
  if (htim->Instance == TIM1) {
    HAL_IncTick();
  }
}

void Error_Handler(void)
{
  /* USER CODE BEGIN Error_Handler_Debug */
	 __disable_irq();
    HAL_UART_Transmit(&huart2, (uint8_t*)"FATAL-RESET\n", 12, 200);
    HAL_Delay(200);
    NVIC_SystemReset();
  /* User can add his own implementation to report the HAL error return state */

  /* USER CODE END Error_Handler_Debug */
}
